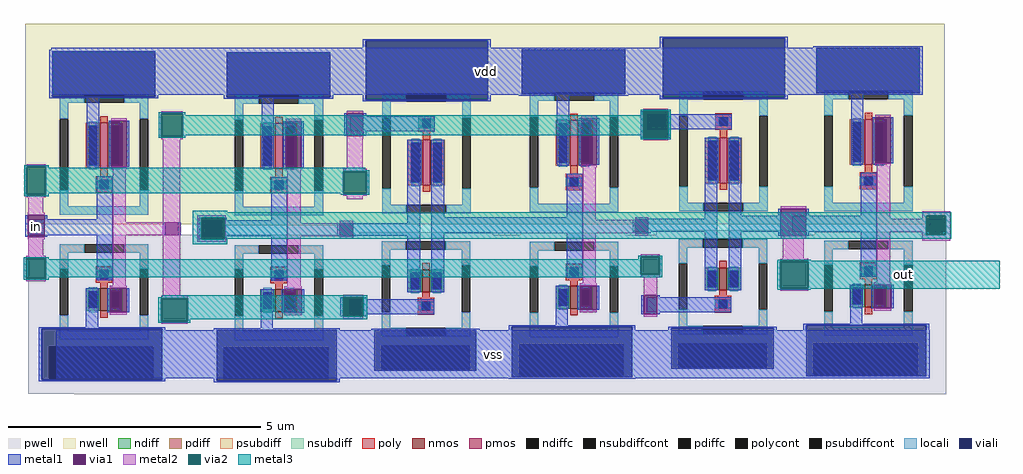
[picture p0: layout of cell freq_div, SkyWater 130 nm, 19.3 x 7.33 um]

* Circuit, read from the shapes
.subckt freq_div in out vdd vss
XM1 trans_gate_0/clk_n in vss vss sky130_fd_pr__nfet_01v8 w=0.45 l=0.15
XM2 trans_gate_0/in inverter_fd_0/in vss vss sky130_fd_pr__nfet_01v8 w=0.45 l=0.15
XM3 inverter_fd_1/in trans_gate_0/clk_n trans_gate_0/in vss sky130_fd_pr__nfet_01v8 w=0.45 l=0.15
XM4 trans_gate_1/in inverter_fd_1/in vss vss sky130_fd_pr__nfet_01v8 w=0.45 l=0.15
XM5 out in trans_gate_1/in vss sky130_fd_pr__nfet_01v8 w=0.45 l=0.15
XM6 inverter_fd_0/in out vss vss sky130_fd_pr__nfet_01v8 w=0.45 l=0.15
XM7 trans_gate_0/clk_n in vdd vdd sky130_fd_pr__pfet_01v8 w=0.9 l=0.15
XM8 trans_gate_0/in inverter_fd_0/in vdd vdd sky130_fd_pr__pfet_01v8 w=0.9 l=0.15
XM9 inverter_fd_1/in in trans_gate_0/in vdd sky130_fd_pr__pfet_01v8 w=0.9 l=0.15
XM10 trans_gate_1/in inverter_fd_1/in vdd vdd sky130_fd_pr__pfet_01v8 w=0.9 l=0.15
XM11 out trans_gate_0/clk_n trans_gate_1/in vdd sky130_fd_pr__pfet_01v8 w=0.9 l=0.15
XM12 inverter_fd_0/in out vdd vdd sky130_fd_pr__pfet_01v8 w=0.9 l=0.15
.ends

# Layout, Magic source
magic
tech sky130A
magscale 1 2
<< nwell >>
rect -704 1454 2933 1455
rect -704 1114 2935 1454
rect -704 996 549 1114
rect 673 996 2935 1114
rect -704 665 2935 996
rect -704 662 2933 665
<< pwell >>
rect -692 619 2939 620
rect -692 314 2941 619
rect -692 298 1484 314
rect 1574 298 2941 314
rect -692 -9 2941 298
rect -509 -10 2941 -9
<< metal1 >>
rect -601 1175 2846 1360
rect 558 1012 568 1101
rect 635 1012 645 1101
rect 1731 1004 1741 1110
rect 1841 1004 1851 1110
rect -704 612 -694 698
rect -626 612 -616 698
rect 2275 695 2285 724
rect -17 603 -7 687
rect 84 603 94 687
rect 538 616 860 667
rect 908 627 1242 690
rect 1713 632 2027 683
rect 2090 632 2285 695
rect 2275 616 2285 632
rect 2386 695 2396 724
rect 2386 632 2454 695
rect 2386 616 2396 632
rect 544 298 554 374
rect 634 298 644 374
rect 1734 306 1744 382
rect 1797 306 1807 382
rect -580 53 2876 242
<< via1 >>
rect 568 1012 635 1101
rect 1741 1004 1841 1110
rect -694 612 -626 698
rect -7 603 84 687
rect 2285 616 2386 724
rect 554 298 634 374
rect 1744 306 1797 382
<< metal2 >>
rect -165 1100 -80 1110
rect -165 999 -80 1009
rect 568 1101 635 1111
rect 568 1002 635 1012
rect 1741 1110 1841 1120
rect -697 890 -621 900
rect -697 768 -621 778
rect -692 708 -631 768
rect -694 698 -626 708
rect -694 602 -626 612
rect -692 537 -631 602
rect -700 527 -621 537
rect -700 437 -621 447
rect -159 379 -89 999
rect 568 881 632 1002
rect 1741 994 1841 1004
rect 555 871 647 881
rect 555 774 647 784
rect 568 761 632 774
rect 2285 724 2386 734
rect -22 687 91 698
rect -22 603 -7 687
rect 84 603 91 687
rect 2285 606 2386 616
rect 2846 696 2956 713
rect 2846 621 2862 696
rect 2939 621 2956 696
rect -22 592 91 603
rect 1732 533 1806 543
rect 2293 526 2377 606
rect 2846 596 2956 621
rect 1732 453 1806 463
rect 2283 516 2395 526
rect -166 369 -61 379
rect 554 374 634 384
rect 554 288 634 298
rect 1743 382 1798 453
rect 2283 399 2395 409
rect 1743 306 1744 382
rect 1797 306 1798 382
rect 1743 296 1798 306
rect -166 268 -61 278
<< via2 >>
rect -165 1009 -80 1100
rect 1741 1004 1841 1110
rect -697 778 -621 890
rect -700 447 -621 527
rect 555 784 647 871
rect -7 603 84 687
rect 2862 621 2939 696
rect 1732 463 1806 533
rect -166 278 -61 369
rect 554 298 634 374
rect 2283 409 2395 516
<< metal3 >>
rect 1731 1110 1851 1115
rect -175 1100 -70 1105
rect -175 1009 -165 1100
rect -80 1093 -70 1100
rect 1731 1093 1741 1110
rect -80 1014 1741 1093
rect -80 1009 -70 1014
rect -175 1004 -70 1009
rect 1731 1004 1741 1014
rect 1841 1004 1851 1110
rect 1731 999 1851 1004
rect -707 890 -611 895
rect -707 778 -697 890
rect -621 885 -611 890
rect -621 876 641 885
rect -621 871 657 876
rect -621 785 555 871
rect -621 778 -611 785
rect 545 784 555 785
rect 647 784 657 871
rect 545 779 657 784
rect -707 773 -611 778
rect -40 709 96 716
rect -40 696 2960 709
rect -40 687 2862 696
rect -40 603 -7 687
rect 84 621 2862 687
rect 2939 621 2960 696
rect 84 604 2960 621
rect 84 603 96 604
rect -40 584 96 603
rect 1722 533 1816 538
rect -710 527 -611 532
rect -710 447 -700 527
rect -621 523 -611 527
rect 1722 523 1732 533
rect -621 463 1732 523
rect 1806 523 1816 533
rect 1806 463 1817 523
rect 2273 517 2405 521
rect -621 452 1817 463
rect 2272 516 3151 517
rect -621 447 -611 452
rect -710 442 -611 447
rect 2272 409 2283 516
rect 2395 409 3151 516
rect 2272 407 3151 409
rect 2273 404 2405 407
rect -161 374 649 381
rect -176 369 554 374
rect -176 278 -166 369
rect -61 298 554 369
rect 634 298 649 374
rect -61 287 649 298
rect -61 278 -51 287
rect -176 273 -51 278
use inverter_fd  inverter_fd_3
transform 1 0 -1147 0 1 -17
box 456 58 1060 1458
use inverter_fd  inverter_fd_2
transform 1 0 1876 0 1 -3
box 456 58 1060 1458
use inverter_fd  inverter_fd_1
transform 1 0 712 0 1 -8
box 456 58 1060 1458
use inverter_fd  inverter_fd_0
transform 1 0 -456 0 1 -20
box 456 58 1060 1458
use trans_gate  trans_gate_0
transform 1 0 738 0 1 710
box -157 -701 436 733
use trans_gate  trans_gate_1
transform 1 0 1913 0 1 718
box -157 -701 436 733
<< labels >>
rlabel metal3 2395 407 3151 517 1 out
rlabel via1 -694 612 -626 698 1 in
rlabel metal1 -580 53 2876 242 1 vss
rlabel nwell -601 1175 2847 1360 1 vdd
<< end >>

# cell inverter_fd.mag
magic
tech sky130A
magscale 1 2
<< nwell >>
rect 457 679 1048 1458
<< psubdiff >>
rect 510 195 986 265
rect 510 70 539 195
rect 951 70 986 195
rect 510 64 986 70
<< nsubdiff >>
rect 550 1184 959 1363
<< psubdiffcont >>
rect 539 70 951 195
<< viali >>
rect 550 1184 959 1363
rect 510 195 986 265
rect 510 70 539 195
rect 539 70 951 195
rect 951 70 986 195
rect 510 64 986 70
<< metal1 >>
rect 538 1363 971 1369
rect 538 1184 550 1363
rect 959 1184 971 1363
rect 538 1178 971 1184
rect 688 909 736 1178
rect 774 906 784 1089
rect 845 906 855 1089
rect 727 698 790 869
rect 456 635 790 698
rect 988 635 998 687
rect 1050 635 1060 687
rect 727 458 790 635
rect 684 271 732 426
rect 768 332 778 426
rect 846 332 856 426
rect 498 265 998 271
rect 498 64 510 265
rect 986 64 998 265
rect 498 58 998 64
<< via1 >>
rect 784 906 845 1089
rect 998 635 1050 687
rect 778 332 846 426
<< metal2 >>
rect 784 1089 845 1099
rect 784 896 845 906
rect 790 687 842 896
rect 998 687 1050 697
rect 790 635 998 687
rect 790 436 842 635
rect 998 625 1050 635
rect 778 426 846 436
rect 778 322 846 332
use sky130_fd_pr__nfet_01v8_ETUE4C  sky130_fd_pr__nfet_01v8_ETUE4C_0
transform 1 0 756 0 1 412
box -211 -224 211 224
use sky130_fd_pr__pfet_01v8_B5M7SB  sky130_fd_pr__pfet_01v8_B5M7SB_0
transform 1 0 756 0 1 955
box -211 -274 211 274
<< labels >>
rlabel metal1 456 635 790 698 1 in
rlabel via1 998 635 1050 687 1 out
rlabel viali 550 1184 959 1363 1 vdd
<< end >>

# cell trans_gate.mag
magic
tech sky130A
magscale 1 2
<< nwell >>
rect -155 -46 436 733
<< pwell >>
rect -119 -447 408 -79
rect -119 -701 409 -447
<< psubdiff >>
rect -61 -529 344 -467
rect -61 -622 -32 -529
rect 317 -622 344 -529
rect -61 -628 344 -622
<< nsubdiff >>
rect -92 446 390 681
<< psubdiffcont >>
rect -32 -622 317 -529
<< viali >>
rect -94 445 388 679
rect -61 -529 344 -467
rect -61 -622 -32 -529
rect -32 -622 317 -529
rect 317 -622 344 -529
rect -61 -628 344 -622
<< metal1 >>
rect -106 679 400 685
rect -106 445 -94 679
rect 388 445 400 679
rect -106 439 400 445
rect -155 320 178 379
rect 71 -317 122 287
rect 166 -317 217 287
rect -157 -404 176 -345
rect -73 -467 356 -461
rect -73 -628 -61 -467
rect 344 -628 356 -467
rect -73 -634 356 -628
use sky130_fd_pr__nfet_01v8_UVCFM7  sky130_fd_pr__nfet_01v8_UVCFM7_0
transform 1 0 144 0 1 -303
box -211 -224 211 224
use sky130_fd_pr__pfet_01v8_H4M7SM  sky130_fd_pr__pfet_01v8_H4M7SM_0
transform 1 0 146 0 1 233
box -211 -274 211 274
<< labels >>
rlabel pwell -61 -628 344 -467 1 vss
rlabel metal1 -157 -404 176 -345 1 clk_n
rlabel metal1 71 -317 122 287 1 in
rlabel metal1 166 -317 217 287 1 out
rlabel metal1 -155 320 178 379 1 clk_p
rlabel viali -94 445 388 679 1 vdd
<< end >>

# cell sky130_fd_pr__nfet_01v8_UVCFM7: kit device sky130_fd_pr__nfet_01v8, w 0.45 l 0.150 m 1 nf 1 diffcov 100 polycov 100 guard 1 glc 1 grc 1 gtc 1 gbc 1 tbcov 100 rlcov 100 topc 0 botc 1 poverlap 0 doverlap 1 lmin 0.15 wmin 0.42 compatible {sky130_fd_pr__nfet_01v8 sky130_fd_pr__nfet_01v8_lvt sky130_fd_bs_flash__special_sonosfet_star sky130_fd_pr__nfet_g5v0d10v5 sky130_fd_pr__nfet_05v0_nvt} full_metal 1 viasrc 100 viadrn 100 viagate 100 viagb 0 viagr 0 viagl 0 viagt 0

# cell sky130_fd_pr__pfet_01v8_H4M7SM: kit device sky130_fd_pr__pfet_01v8, w 0.9 l 0.15 m 1 nf 1 diffcov 100 polycov 100 guard 1 glc 1 grc 1 gtc 1 gbc 1 tbcov 100 rlcov 100 topc 1 botc 0 poverlap 0 doverlap 1 lmin 0.15 wmin 0.42 compatible {sky130_fd_pr__pfet_01v8 sky130_fd_pr__pfet_01v8_lvt sky130_fd_pr__pfet_01v8_hvt sky130_fd_pr__pfet_g5v0d10v5} full_metal 1 viagl 0 viagr 0 viagt 0 viagb 0 viagate 100 viadrn 100 viasrc 100

# cell sky130_fd_pr__nfet_01v8_ETUE4C: kit device sky130_fd_pr__nfet_01v8, w 0.45 l 0.150 m 1 nf 1 diffcov 100 polycov 100 guard 1 glc 1 grc 1 gtc 1 gbc 0 tbcov 100 rlcov 100 topc 1 botc 0 poverlap 0 doverlap 1 lmin 0.15 wmin 0.42 compatible {sky130_fd_pr__nfet_01v8 sky130_fd_pr__nfet_01v8_lvt sky130_fd_bs_flash__special_sonosfet_star sky130_fd_pr__nfet_g5v0d10v5 sky130_fd_pr__nfet_05v0_nvt} full_metal 1 viasrc 100 viadrn 100 viagate 100 viagb 0 viagr 0 viagl 0 viagt 0

# cell sky130_fd_pr__pfet_01v8_B5M7SB: kit device sky130_fd_pr__pfet_01v8, w 0.9 l 0.15 m 1 nf 1 diffcov 100 polycov 100 guard 1 glc 1 grc 1 gtc 1 gbc 0 tbcov 100 rlcov 100 topc 0 botc 1 poverlap 0 doverlap 1 lmin 0.15 wmin 0.42 compatible {sky130_fd_pr__pfet_01v8 sky130_fd_pr__pfet_01v8_lvt sky130_fd_pr__pfet_01v8_hvt sky130_fd_pr__pfet_g5v0d10v5} full_metal 1 viagl 0 viagr 0 viagt 0 viagb 0 viagate 100 viadrn 100 viasrc 100
